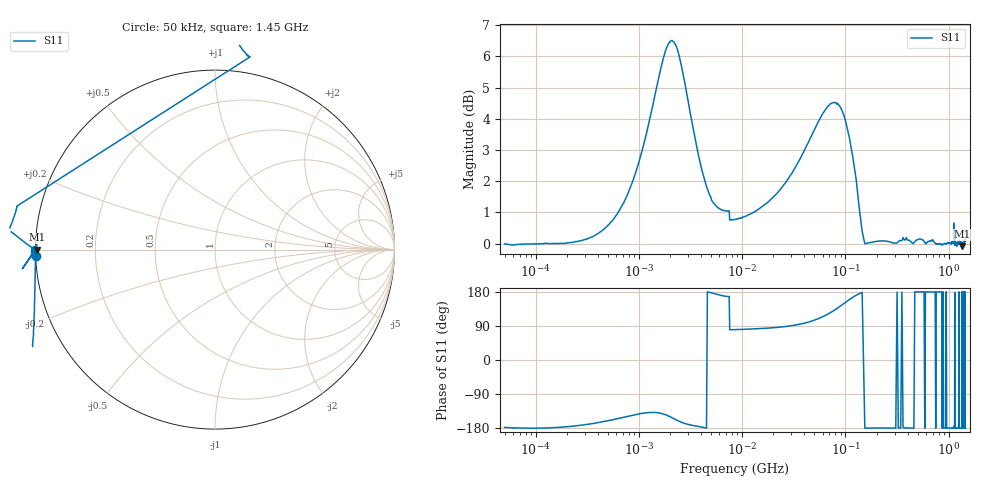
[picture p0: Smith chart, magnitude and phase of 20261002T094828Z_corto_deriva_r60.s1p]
! piloto_deriva / corto_deriva / r60
# HZ S RI R 50
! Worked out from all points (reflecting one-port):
!   501 points, 50 kHz to 1.45 GHz, reference 50 ohm
!   lowest |S11| = -0.1 dB at 1.355 GHz (marker M1), VSWR 218.32, Z = 0.229 - j0.00396 ohm
!   phase of S11 starts at -178 deg and turns -2 deg over the sweep
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50000  -0.9989 -0.0374
183000  -0.9996 -0.0523
363500  -1.004 -0.224
658000  -1.015 -0.5123
1180000  -1.136 -0.9783
1630000  -1.475 -1.212
1990000  -1.811 -1.075
2170000  -1.9 -0.9059
2440000  -1.9 -0.6414
3070000  -1.633 -0.2674
4330000  -1.262 -0.0306
7300000  -1.101 0.2418
7750000  0.1949 1.073
8560000  0.1875 1.077
1.9e7  0.1094 1.173
3.16e7  -0.0352 1.312
4.78e7  -0.3449 1.459
6.76e7  -0.8624 1.419
8.02e7  -1.156 1.219
9.37e7  -1.355 0.8996
9.82e7  -1.385 0.7833
1e8  -1.39 0.7375
1.18e8  -1.33 0.3398
1.36e8  -1.135 0.0991
1.63e8  -1.002 -0.00346
4.06e8  -1.013 -0.00265
1.3555e9  -0.9909 -0.000157
1.45e9  -1.01 -0.00366
